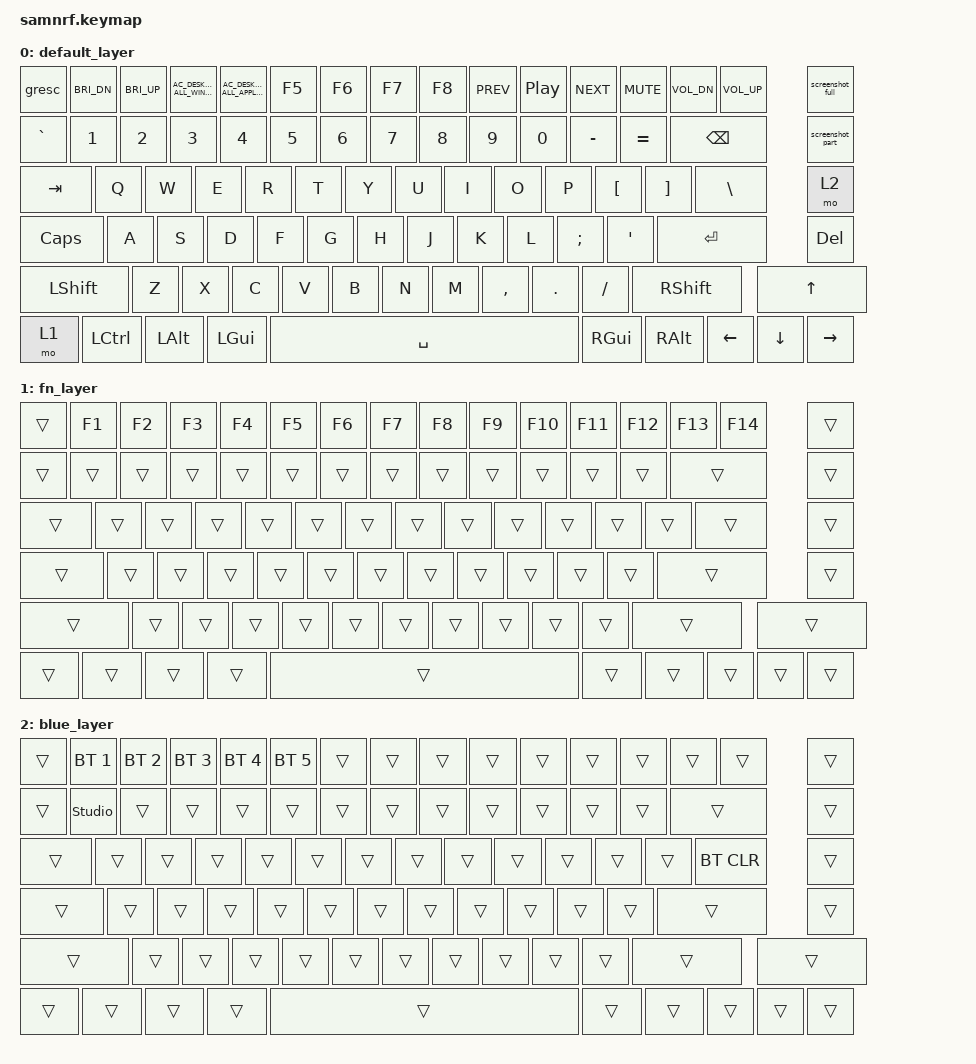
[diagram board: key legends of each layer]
// This file was generated from a template. Edit it to match your keyboard.
// See https://zmk.dev/docs/development/hardware-integration/new-shield for more instructions.

#include <behaviors.dtsi>
#include <dt-bindings/zmk/keys.h>
#include <dt-bindings/zmk/bt.h>

/ {
    macros {
        screenshot_full: screenshot_full {
            label = "SA_screenshot_full";
            compatible = "zmk,behavior-macro";
            #binding-cells = <0>;
            bindings
                = <&macro_press &kp LSHFT>
                , <&macro_press &kp LGUI>
                , <&macro_press &kp N1>
                , <&macro_release &kp LSHFT>
                , <&macro_release &kp LGUI>
                , <&macro_release &kp N1>
                ;
        };
        screenshot_part: screenshot_part {
            label = "SA_screenshot_part";
            compatible = "zmk,behavior-macro";
            #binding-cells = <0>;
            bindings
                = <&macro_press &kp LSHFT>
                , <&macro_press &kp LGUI>
                , <&macro_press &kp N2>
                , <&macro_release &kp LSHFT>
                , <&macro_release &kp LGUI>
                , <&macro_release &kp N2>
                ;
        };
    };

    keymap {
        compatible = "zmk,keymap";
        
        default_layer {

// | MX1 | MX7  | MX13 | MX19 | MX25 | MX30 | MX35 | MX41 | MX46 | MX51 | MX57 | MX63 | MX69 | MX75 | MX80 |    | MX81 |
// | MX2 | MX8  | MX14 | MX20 | MX26 | MX31 | MX36 | MX42 | MX47 | MX52 | MX58 | MX64 | MX70 |     MX76    |    | MX82 |
// |  MX3  | MX9  | MX15 | MX21 | MX27 | MX32 | MX37 | MX43 | MX48 | MX53 | MX59 | MX65 | MX71 |   MX77    |    | MX79 |
// |   MX4   | MX10 | MX16 | MX22 | MX28 | MX33 | MX38 | MX44 | MX49 | MX54 | MX60 | MX66 |      MX72      |    | MX83 |
// |    MX5    | MX11 | MX17 | MX23 | MX29 | MX34 | MX39 | MX45 | MX50 | MX55 | MX61 | MX67 |    MX73    | MX73 |
// |  MX6  |  MX12  |  MX18  |  MX24  |                 MX40                  |   MX56   |   MX62 | MX68 | MX74 | MX78 |


// ------------------------------------------------------------------------------------------
// | ESC |  f1 |  f2 |  f3 |  f4 |  f5 |  f5 |  f6 |  f7 |  f8 |  f9 | f10 | f11 | f12 | f13 | f14 | Full Screenshot |
// |  ~  |  1  |  2  |  3  |  4  |  5  |  6  |  7  |  8  |  9  |  0  |  -  |  =  |       BKSP      | Selection Screenshot |
// | TAB  |  Q  |  W  |  E  |  R  |  T  |  Y  |  U  |  I  |  O  |  P  |  [  |  ]  |   "|"   |      | MO(1) |
// | CAPS  |  A  |  S  |  D  |  F  |  G  |  H  |  J  |  K  |  L  |  ;  |  '  |     ENTER    |      | Delete |
// |  SHIFT  |  Z  |  X  |  C  |  V  |  B  |  N  |  M  |  ,  |  .  |  /  |      SHIFT       |  UP  |
// |  FN  |  CTL  |  ALT  |  WIN  |            SPACE              |  WIN  |   ALT   | LEFT  |  DN  | RIGHT |
// ------------------------------------------------------------------------------------------
            bindings = <
    &gresc  &kp C_BRI_DN &kp C_BRI_UP &kp C_AC_DESKTOP_SHOW_ALL_WINDOWS &kp C_AC_DESKTOP_SHOW_ALL_APPLICATIONS &kp F5 &kp F6 &kp F7 &kp F8 &kp C_PREV &kp C_PP &kp C_NEXT &kp C_MUTE &kp C_VOL_DN &kp C_VOL_UP  &screenshot_full
    &kp GRAVE  &kp N1 &kp N2 &kp N3 &kp N4 &kp N5 &kp N6 &kp N7 &kp N8 &kp N9 &kp N0 &kp MINUS &kp EQUAL  &kp BSPC &screenshot_part
    &kp TAB  &kp Q  &kp W  &kp E  &kp R  &kp T  &kp Y  &kp U  &kp I  &kp O  &kp P  &kp LBKT  &kp RBKT  &kp BSLH &mo 2
    &kp CLCK  &kp A  &kp S  &kp D  &kp F  &kp G  &kp H  &kp J  &kp K  &kp L  &kp SEMI &kp SQT           &kp RET &kp DEL
    &kp LSHFT   &kp Z  &kp X  &kp C  &kp V  &kp B  &kp N  &kp M  &kp COMMA &kp DOT &kp FSLH           &kp RSHFT &kp UP
    &mo 1 &kp LCTRL &kp LALT &kp LGUI            &kp SPACE                     &kp RGUI &kp RALT &kp LEFT &kp DOWN &kp RIGHT
            >;
        };

        fn_layer {
            bindings = <
                &trans  &kp F1 &kp F2 &kp F3 &kp F4 &kp F5 &kp F6 &kp F7 &kp F8 &kp F9 &kp F10 &kp F11 &kp F12 &kp F13 &kp F14 &trans
                &trans &trans &trans &trans &trans &trans &trans &trans &trans &trans &trans &trans &trans  &trans &trans
                &trans  &trans  &trans  &trans  &trans  &trans  &trans  &trans  &trans  &trans  &trans  &trans  &trans  &trans &trans
                &trans  &trans  &trans  &trans  &trans  &trans  &trans  &trans  &trans  &trans  &trans &trans           &trans &trans
                &trans   &trans  &trans  &trans  &trans  &trans  &trans  &trans  &trans &trans &trans           &trans &trans
                &trans &trans &trans &trans            &trans                     &trans &trans &trans &trans &trans
            >;
        };

        blue_layer {
            bindings = <
                &trans &bt BT_SEL 1 &bt BT_SEL 2 &bt BT_SEL 3 &bt BT_SEL 4 &bt BT_SEL 5 &trans &trans &trans &trans &trans &trans &trans &trans &trans &trans
                &trans &studio_unlock &trans &trans &trans &trans &trans &trans &trans &trans &trans &trans &trans  &trans &trans
                &trans  &trans  &trans  &trans  &trans  &trans  &trans  &trans  &trans  &trans  &trans  &trans  &trans  &bt BT_CLR &trans
                &trans  &trans  &trans  &trans  &trans  &trans  &trans  &trans  &trans  &trans  &trans &trans           &trans &trans
                &trans   &trans  &trans  &trans  &trans  &trans  &trans  &trans  &trans &trans &trans           &trans &trans
                &trans &trans &trans &trans            &trans                     &trans &trans &trans &trans &trans
            >;
        };

    };
};
